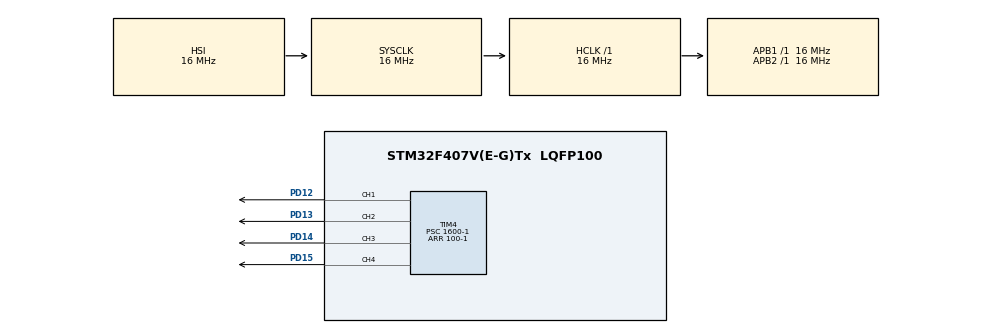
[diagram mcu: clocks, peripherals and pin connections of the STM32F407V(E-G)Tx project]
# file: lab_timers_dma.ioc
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Dma.Request0=TIM4_CH1
Dma.Request1=TIM4_CH2
Dma.Request2=TIM4_CH3
Dma.Request3=TIM4_UP
Dma.TIM4_CH1.0.Direction=DMA_MEMORY_TO_PERIPH
Dma.TIM4_CH1.0.FIFOMode=DMA_FIFOMODE_DISABLE
Dma.TIM4_CH1.0.Instance=DMA1_Stream0
Dma.TIM4_CH1.0.MemDataAlignment=DMA_MDATAALIGN_HALFWORD
Dma.TIM4_CH1.0.MemInc=DMA_MINC_ENABLE
Dma.TIM4_CH1.0.Mode=DMA_CIRCULAR
Dma.TIM4_CH1.0.PeriphDataAlignment=DMA_PDATAALIGN_HALFWORD
Dma.TIM4_CH1.0.PeriphInc=DMA_PINC_DISABLE
Dma.TIM4_CH1.0.Priority=DMA_PRIORITY_LOW
Dma.TIM4_CH2.1.Direction=DMA_MEMORY_TO_PERIPH
Dma.TIM4_CH2.1.FIFOMode=DMA_FIFOMODE_DISABLE
Dma.TIM4_CH2.1.Instance=DMA1_Stream3
Dma.TIM4_CH2.1.MemDataAlignment=DMA_MDATAALIGN_HALFWORD
Dma.TIM4_CH2.1.MemInc=DMA_MINC_ENABLE
Dma.TIM4_CH2.1.Mode=DMA_CIRCULAR
Dma.TIM4_CH2.1.PeriphDataAlignment=DMA_PDATAALIGN_HALFWORD
Dma.TIM4_CH2.1.PeriphInc=DMA_PINC_DISABLE
Dma.TIM4_CH2.1.Priority=DMA_PRIORITY_LOW
Dma.TIM4_CH3.2.Direction=DMA_MEMORY_TO_PERIPH
Dma.TIM4_CH3.2.FIFOMode=DMA_FIFOMODE_DISABLE
Dma.TIM4_CH3.2.Instance=DMA1_Stream7
Dma.TIM4_CH3.2.MemDataAlignment=DMA_MDATAALIGN_HALFWORD
Dma.TIM4_CH3.2.MemInc=DMA_MINC_ENABLE
Dma.TIM4_CH3.2.Mode=DMA_CIRCULAR
Dma.TIM4_CH3.2.PeriphDataAlignment=DMA_PDATAALIGN_HALFWORD
Dma.TIM4_CH3.2.PeriphInc=DMA_PINC_DISABLE
Dma.TIM4_CH3.2.Priority=DMA_PRIORITY_LOW
Dma.TIM4_UP.3.Direction=DMA_MEMORY_TO_PERIPH
Dma.TIM4_UP.3.FIFOMode=DMA_FIFOMODE_DISABLE
Dma.TIM4_UP.3.Instance=DMA1_Stream6
Dma.TIM4_UP.3.MemDataAlignment=DMA_MDATAALIGN_HALFWORD
Dma.TIM4_UP.3.MemInc=DMA_MINC_ENABLE
Dma.TIM4_UP.3.Mode=DMA_CIRCULAR
Dma.TIM4_UP.3.PeriphDataAlignment=DMA_PDATAALIGN_HALFWORD
Dma.TIM4_UP.3.PeriphInc=DMA_PINC_DISABLE
Dma.TIM4_UP.3.Priority=DMA_PRIORITY_LOW
Mcu.Family=STM32F4
Mcu.Name=STM32F407V(E-G)Tx
Mcu.Package=LQFP100
NVIC.DMA1_Stream0_IRQn=true\:0\:0\:false\:false\:true\:false\:true\:true
NVIC.DMA1_Stream3_IRQn=true\:0\:0\:false\:false\:true\:false\:true\:true
NVIC.DMA1_Stream6_IRQn=true\:0\:0\:false\:false\:true\:false\:true\:true
NVIC.DMA1_Stream7_IRQn=true\:0\:0\:false\:false\:true\:false\:true\:true
NVIC.PriorityGroup=NVIC_PRIORITYGROUP_4
PA13.Mode=Serial_Wire
PA13.Signal=SYS_JTMS-SWDIO
PA14.Mode=Serial_Wire
PA14.Signal=SYS_JTCK-SWCLK
PD12.Signal=S_TIM4_CH1
PD13.Signal=S_TIM4_CH2
PD14.Signal=S_TIM4_CH3
PD15.Signal=S_TIM4_CH4
ProjectManager.HeapSize=0x200
ProjectManager.StackSize=0x400
ProjectManager.TargetToolchain=MDK-ARM V5.32
RCC.AHBFreq_Value=16000000
RCC.APB1Freq_Value=16000000
RCC.APB2Freq_Value=16000000
RCC.CortexFreq_Value=16000000
RCC.HSE_VALUE=25000000
RCC.HSI_VALUE=16000000
RCC.LSE_VALUE=32768
RCC.SYSCLKFreq_VALUE=16000000
RCC.VCOOutputFreq_Value=192000000
SH.S_TIM4_CH1.0=TIM4_CH1,PWM Generation1 CH1
SH.S_TIM4_CH2.0=TIM4_CH2,PWM Generation2 CH2
SH.S_TIM4_CH3.0=TIM4_CH3,PWM Generation3 CH3
SH.S_TIM4_CH4.0=TIM4_CH4,PWM Generation4 CH4
TIM4.Channel-PWM\ Generation1\ CH1=TIM_CHANNEL_1
TIM4.Channel-PWM\ Generation2\ CH2=TIM_CHANNEL_2
TIM4.Channel-PWM\ Generation3\ CH3=TIM_CHANNEL_3
TIM4.Channel-PWM\ Generation4\ CH4=TIM_CHANNEL_4
TIM4.OC1Preload_PWM=DISABLE
TIM4.OC2Preload_PWM=DISABLE
TIM4.OC3Preload_PWM=DISABLE
TIM4.OC4Preload_PWM=DISABLE
TIM4.OCMode_PWM-PWM\ Generation1\ CH1=TIM_OCMODE_PWM2
TIM4.OCMode_PWM-PWM\ Generation2\ CH2=TIM_OCMODE_PWM2
TIM4.OCMode_PWM-PWM\ Generation3\ CH3=TIM_OCMODE_PWM2
TIM4.OCMode_PWM-PWM\ Generation4\ CH4=TIM_OCMODE_PWM2
TIM4.OCPolarity_1=TIM_OCPOLARITY_LOW
TIM4.OCPolarity_2=TIM_OCPOLARITY_LOW
TIM4.OCPolarity_3=TIM_OCPOLARITY_LOW
TIM4.OCPolarity_4=TIM_OCPOLARITY_LOW
TIM4.Period=100-1
TIM4.Prescaler=1600-1
VP_TIM4_VS_ClockSourceINT.Mode=Internal
board=custom

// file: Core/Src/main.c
/* USER CODE BEGIN Header */
/**
  ******************************************************************************
  * @file           : main.c
  * @brief          : Main program body
  ******************************************************************************
  * @attention
  *
  * Copyright (c) 2024 STMicroelectronics.
  * All rights reserved.
  *
  * This software is licensed under terms that can be found in the LICENSE file
  * in the root directory of this software component.
  * If no LICENSE file comes with this software, it is provided AS-IS.
  *
  ******************************************************************************
  */
/* USER CODE END Header */
#include "main.h"
#include "dma.h"
#include "tim.h"
#include "gpio.h"

/* USER CODE BEGIN Includes */
#include <stdbool.h>
/* USER CODE END Includes */

/* USER CODE BEGIN PTD */

  typedef struct {
    uint16_t power;
    bool up_power;
} LED_PowerState_s_t;

/* USER CODE END PTD */

/* USER CODE BEGIN PD */
#define PWM_DATA_SIZE 100
/* USER CODE END PD */

/* USER CODE BEGIN PV */
uint16_t pwmDataBlue[PWM_DATA_SIZE];
uint16_t pwmDataRed[PWM_DATA_SIZE];
uint16_t pwmDataOrange[PWM_DATA_SIZE];
uint16_t pwmDataGreen[PWM_DATA_SIZE];

/* USER CODE END PV */

void SystemClock_Config(void);
/* USER CODE BEGIN PFP */

void InitPWMData(void) {
    for (int i = 0; i < 100; i++) {
        pwmDataBlue[i] = i;
        pwmDataRed[i] = i;
        pwmDataOrange[i] = i;
        pwmDataGreen[i] = i;
    }
    for (int i = 100; i < 200; i++) {
        pwmDataBlue[i] = 200 - i;
        pwmDataRed[i] = 200 - i;
        pwmDataOrange[i] = 200 - i;
        pwmDataGreen[i] = 200 - i;
    }
}

void StartPWMWithDMA(void) {

    HAL_TIM_PWM_Start_DMA(&htim4, TIM_CHANNEL_4, (uint32_t*)pwmDataBlue, PWM_DATA_SIZE);
    HAL_TIM_PWM_Start_DMA(&htim4, TIM_CHANNEL_3, (uint32_t*)pwmDataRed, PWM_DATA_SIZE);
    HAL_TIM_PWM_Start_DMA(&htim4, TIM_CHANNEL_2, (uint32_t*)pwmDataOrange, PWM_DATA_SIZE);
    HAL_TIM_PWM_Start_DMA(&htim4, TIM_CHANNEL_1, (uint32_t*)pwmDataGreen, PWM_DATA_SIZE);
}

//   void StartDMATransfer(void) {
//
//    HAL_TIM_PWM_Start_DMA(&htim4, TIM_CHANNEL_4, (uint32_t*)pwmDataBlue, 100);

//    HAL_TIM_PWM_Start_DMA(&htim4, TIM_CHANNEL_3, (uint32_t*)pwmDataRed, 100);

//    HAL_TIM_PWM_Start_DMA(&htim4, TIM_CHANNEL_2, (uint32_t*)pwmDataOrange, 100);

//    HAL_TIM_PWM_Start_DMA(&htim4, TIM_CHANNEL_1, (uint32_t*)pwmDataGreen, 100);
//}
/* USER CODE END PFP */

int main(void)
{

  /* MCU Configuration--------------------------------------------------------*/

  /* Reset of all peripherals, Initializes the Flash interface and the Systick. */
  HAL_Init();

  /* Configure the system clock */
  SystemClock_Config();

  /* Initialize all configured peripherals */
  MX_GPIO_Init();
  MX_DMA_Init();
  MX_TIM4_Init();
  /* USER CODE BEGIN 2 */

  InitPWMData();
  StartPWMWithDMA();

  /* USER CODE END 2 */

  /* Infinite loop */
  while (1)
  {

  }
}

void SystemClock_Config(void)
{
  RCC_OscInitTypeDef RCC_OscInitStruct = {0};
  RCC_ClkInitTypeDef RCC_ClkInitStruct = {0};

  /** Configure the main internal regulator output voltage
  */
  __HAL_RCC_PWR_CLK_ENABLE();
  __HAL_PWR_VOLTAGESCALING_CONFIG(PWR_REGULATOR_VOLTAGE_SCALE1);

  /** Initializes the RCC Oscillators according to the specified parameters
  * in the RCC_OscInitTypeDef structure.
  */
  RCC_OscInitStruct.OscillatorType = RCC_OSCILLATORTYPE_HSI;
  RCC_OscInitStruct.HSIState = RCC_HSI_ON;
  RCC_OscInitStruct.HSICalibrationValue = RCC_HSICALIBRATION_DEFAULT;
  RCC_OscInitStruct.PLL.PLLState = RCC_PLL_NONE;
  if (HAL_RCC_OscConfig(&RCC_OscInitStruct) != HAL_OK)
  {
    Error_Handler();
  }

  /** Initializes the CPU, AHB and APB buses clocks
  */
  RCC_ClkInitStruct.ClockType = RCC_CLOCKTYPE_HCLK|RCC_CLOCKTYPE_SYSCLK
                              |RCC_CLOCKTYPE_PCLK1|RCC_CLOCKTYPE_PCLK2;
  RCC_ClkInitStruct.SYSCLKSource = RCC_SYSCLKSOURCE_HSI;
  RCC_ClkInitStruct.AHBCLKDivider = RCC_SYSCLK_DIV1;
  RCC_ClkInitStruct.APB1CLKDivider = RCC_HCLK_DIV1;
  RCC_ClkInitStruct.APB2CLKDivider = RCC_HCLK_DIV1;

  if (HAL_RCC_ClockConfig(&RCC_ClkInitStruct, FLASH_LATENCY_0) != HAL_OK)
  {
    Error_Handler();
  }
}

void Error_Handler(void)
{
  __disable_irq();
  while (1)
  {
  }
}
